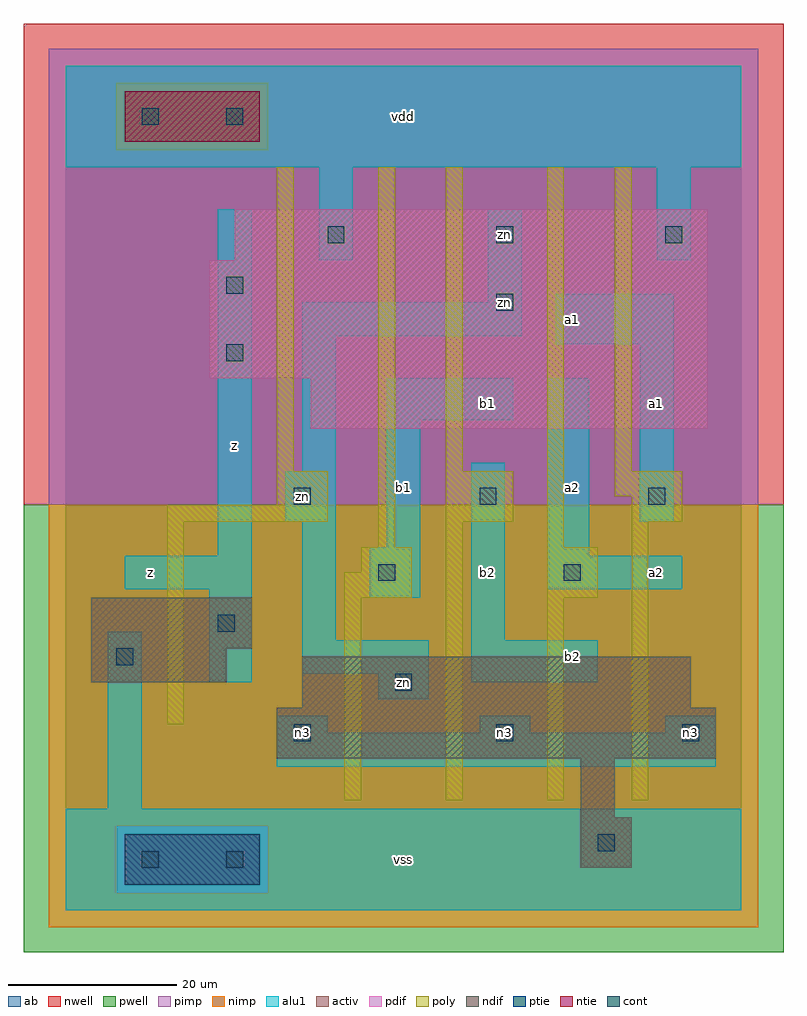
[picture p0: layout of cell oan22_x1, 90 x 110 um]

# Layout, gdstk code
import gdstk
lib = gdstk.Library(unit=1e-6, precision=1e-09)
def R(c, l, rs):  # rectangles x0, y0, x1, y1
    for r in rs: c.add(gdstk.rectangle(r[:2], r[2:], *l))
def A(c, l, x, y, w, h, nx, ny, dx, dy):  # array of equal rectangles
    R(c, l, [(x+i*dx, y+j*dy, x+i*dx+w, y+j*dy+h) for i in range(nx) for j in range(ny)])
ndif = (3, 0)
pdif = (4, 0)
ntie = (5, 0)
ptie = (6, 0)
cont = (25, 0)
pwell = (41, 0)
nwell = (42, 0)
activ = (43, 0)
pimp = (44, 0)
nimp = (45, 0)
poly = (46, 0)
alu1 = (49, 0)
ab = (63, 0)

oan22_x1 = lib.new_cell('oan22_x1')
R(oan22_x1, ndif, [(61,5,67,11), (61,11,65,18), (25,18,77,24), (28,24,74,30), (3,27,19,31), (3,31,22,37)])
R(oan22_x1, pdif, [(29,57,76,63), (17,63,76,77), (20,77,76,83)])
R(oan22_x1, ntie, [(7,91,23,97)])
R(oan22_x1, ptie, [(7,3,23,9)])
A(oan22_x1, cont, 31, 79, 2, 2, 3, 1, 20, 0)
R(oan22_x1, cont, [(9,5,11,7), (19,5,21,7), (63,7,65,9), (27,20,29,22), (51,20,53,22), (73,20,75,22), (39,26,41,28), (6,29,8,31), (18,33,20,35), (37,39,39,41), (59,39,61,41), (27,48,29,50), (49,48,51,50), (69,48,71,50), (19,65,21,67), (51,71,53,73), (19,73,21,75), (9,93,11,95), (19,93,21,95)])
R(oan22_x1, pwell, [(-5,-5,85,48)])
R(oan22_x1, nwell, [(-5,48,85,105)])
R(oan22_x1, activ, [(7,3,23,9), (61,5,67,11), (61,11,65,18), (25,18,77,24), (28,24,74,30), (3,27,19,31), (3,31,22,37), (29,57,76,63), (17,63,76,77), (20,77,76,83), (7,91,23,97)])
R(oan22_x1, pimp, [(6,2,24,10), (-2,48,82,90), (-2,90,6,98), (24,90,82,98), (-2,98,82,102)])
R(oan22_x1, nimp, [(-2,-2,82,2), (-2,2,6,10), (24,2,82,10), (-2,10,82,48), (6,90,24,98)])
A(oan22_x1, poly, 25, 52, 2, 36, 3, 1, 20, 0)
R(oan22_x1, poly, [(33,13,35,37), (45,13,47,46), (57,13,59,37), (67,13,69,46), (12,22,14,46), (33,37,41,40), (57,37,63,43), (35,40,41,43), (37,43,39,88), (57,43,59,88), (12,46,31,48), (45,46,53,52), (67,46,73,49), (25,48,31,52), (65,49,73,52)])
R(oan22_x1, alu1, [(0,0,80,12), (5,12,9,33), (25,17,77,21), (25,21,31,23), (49,21,55,23), (71,21,77,23), (37,25,43,28), (17,27,22,38), (48,27,63,32), (28,28,43,32), (28,32,32,46), (48,32,52,53), (36,37,42,43), (7,38,22,42), (57,38,73,42), (18,42,22,83), (57,42,62,63), (38,43,42,58), (26,46,32,52), (68,46,72,67), (28,52,32,68), (38,58,53,63), (58,67,72,73), (28,68,54,72), (50,72,54,83), (30,77,34,88), (70,77,74,88), (0,88,80,100)])
R(oan22_x1, ab, [(0,0,80,100)])
oan22_x1.add(gdstk.Label('n3', (28,21), layer=49, texttype=0))
oan22_x1.add(gdstk.Label('zn', (28,49), layer=49, texttype=0))
oan22_x1.add(gdstk.Label('n3', (52,21), layer=49, texttype=0))
oan22_x1.add(gdstk.Label('zn', (40,27), layer=49, texttype=0))
oan22_x1.add(gdstk.Label('zn', (52,72), layer=49, texttype=0))
oan22_x1.add(gdstk.Label('zn', (52,80), layer=49, texttype=0))
oan22_x1.add(gdstk.Label('n3', (74,21), layer=49, texttype=0))
oan22_x1.add(gdstk.Label('z', (10,40), layer=49, texttype=0))
oan22_x1.add(gdstk.Label('z', (20,55), layer=49, texttype=0))
oan22_x1.add(gdstk.Label('vss', (40,6), layer=49, texttype=0))
oan22_x1.add(gdstk.Label('b2', (50,40), layer=49, texttype=0))
oan22_x1.add(gdstk.Label('b1', (40,50), layer=49, texttype=0))
oan22_x1.add(gdstk.Label('b1', (50,60), layer=49, texttype=0))
oan22_x1.add(gdstk.Label('vdd', (40,94), layer=49, texttype=0))
oan22_x1.add(gdstk.Label('b2', (60,30), layer=49, texttype=0))
oan22_x1.add(gdstk.Label('a2', (70,40), layer=49, texttype=0))
oan22_x1.add(gdstk.Label('a2', (60,50), layer=49, texttype=0))
oan22_x1.add(gdstk.Label('a1', (60,70), layer=49, texttype=0))
oan22_x1.add(gdstk.Label('a1', (70,60), layer=49, texttype=0))

lib.write_gds('oan22_x1.gds')
